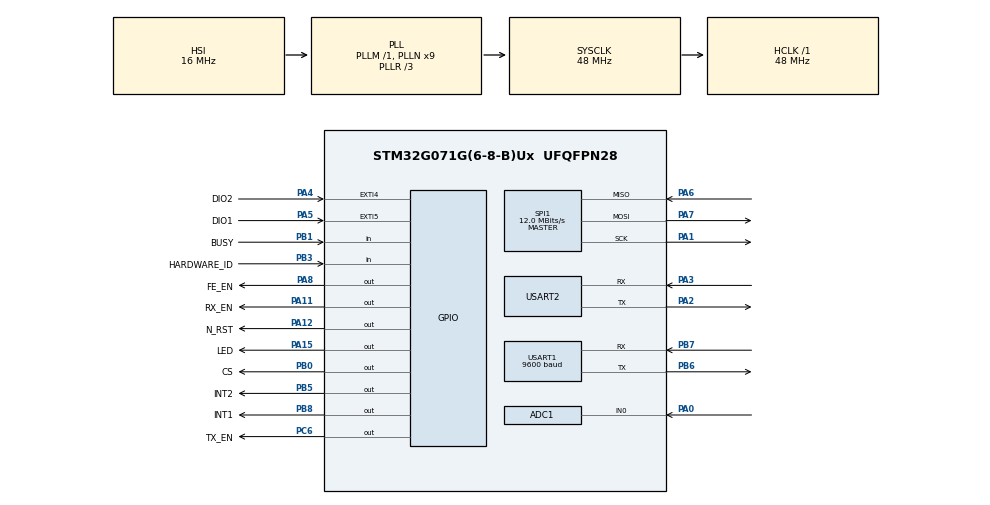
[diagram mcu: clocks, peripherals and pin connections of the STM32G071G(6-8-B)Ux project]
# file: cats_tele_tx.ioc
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ADC1.Channel-0\#ChannelRegularConversion=ADC_CHANNEL_0
ADC1.ContinuousConvMode=ENABLE
ADC1.DMAContinuousRequests=DISABLE
ADC1.NbrOfConversion=1
ADC1.NbrOfConversionFlag=1
ADC1.OversamplingMode=ENABLE
ADC1.Rank-0\#ChannelRegularConversion=1
ADC1.Ratio=ADC_OVERSAMPLING_RATIO_256
ADC1.RightBitShift=ADC_RIGHTBITSHIFT_4
ADC1.SamplingTime-0\#ChannelRegularConversion=ADC_SAMPLINGTIME_COMMON_1
ADC1.SamplingTimeCommon1=ADC_SAMPLETIME_160CYCLES_5
ADC1.SamplingTimeCommon2=ADC_SAMPLETIME_160CYCLES_5
ADC1.SelectedChannel=ADC_CHANNEL_0
ADC1.master=1
Dma.ADC1.2.Direction=DMA_PERIPH_TO_MEMORY
Dma.ADC1.2.EventEnable=DISABLE
Dma.ADC1.2.Instance=DMA1_Channel4
Dma.ADC1.2.MemDataAlignment=DMA_MDATAALIGN_HALFWORD
Dma.ADC1.2.MemInc=DMA_MINC_ENABLE
Dma.ADC1.2.Mode=DMA_CIRCULAR
Dma.ADC1.2.PeriphDataAlignment=DMA_PDATAALIGN_HALFWORD
Dma.ADC1.2.PeriphInc=DMA_PINC_DISABLE
Dma.ADC1.2.Polarity=HAL_DMAMUX_REQ_GEN_RISING
Dma.ADC1.2.Priority=DMA_PRIORITY_LOW
Dma.ADC1.2.RequestNumber=1
Dma.ADC1.2.SignalID=NONE
Dma.ADC1.2.SyncEnable=DISABLE
Dma.ADC1.2.SyncPolarity=HAL_DMAMUX_SYNC_NO_EVENT
Dma.ADC1.2.SyncRequestNumber=1
Dma.ADC1.2.SyncSignalID=NONE
Dma.Request0=USART1_RX
Dma.Request1=USART2_RX
Dma.Request2=ADC1
Dma.USART1_RX.0.Direction=DMA_PERIPH_TO_MEMORY
Dma.USART1_RX.0.EventEnable=DISABLE
Dma.USART1_RX.0.Instance=DMA1_Channel1
Dma.USART1_RX.0.MemDataAlignment=DMA_MDATAALIGN_BYTE
Dma.USART1_RX.0.MemInc=DMA_MINC_ENABLE
Dma.USART1_RX.0.Mode=DMA_CIRCULAR
Dma.USART1_RX.0.PeriphDataAlignment=DMA_PDATAALIGN_BYTE
Dma.USART1_RX.0.PeriphInc=DMA_PINC_DISABLE
Dma.USART1_RX.0.Polarity=HAL_DMAMUX_REQ_GEN_RISING
Dma.USART1_RX.0.Priority=DMA_PRIORITY_LOW
Dma.USART1_RX.0.RequestNumber=1
Dma.USART1_RX.0.SignalID=NONE
Dma.USART1_RX.0.SyncEnable=DISABLE
Dma.USART1_RX.0.SyncPolarity=HAL_DMAMUX_SYNC_NO_EVENT
Dma.USART1_RX.0.SyncRequestNumber=1
Dma.USART1_RX.0.SyncSignalID=NONE
Dma.USART2_RX.1.Direction=DMA_PERIPH_TO_MEMORY
Dma.USART2_RX.1.EventEnable=DISABLE
Dma.USART2_RX.1.Instance=DMA1_Channel2
Dma.USART2_RX.1.MemDataAlignment=DMA_MDATAALIGN_BYTE
Dma.USART2_RX.1.MemInc=DMA_MINC_ENABLE
Dma.USART2_RX.1.Mode=DMA_CIRCULAR
Dma.USART2_RX.1.PeriphDataAlignment=DMA_PDATAALIGN_BYTE
Dma.USART2_RX.1.PeriphInc=DMA_PINC_DISABLE
Dma.USART2_RX.1.Polarity=HAL_DMAMUX_REQ_GEN_RISING
Dma.USART2_RX.1.Priority=DMA_PRIORITY_LOW
Dma.USART2_RX.1.RequestNumber=1
Dma.USART2_RX.1.SignalID=NONE
Dma.USART2_RX.1.SyncEnable=DISABLE
Dma.USART2_RX.1.SyncPolarity=HAL_DMAMUX_SYNC_NO_EVENT
Dma.USART2_RX.1.SyncRequestNumber=1
Dma.USART2_RX.1.SyncSignalID=NONE
Mcu.Family=STM32G0
Mcu.Name=STM32G071G(6-8-B)Ux
Mcu.Package=UFQFPN28
NVIC.DMA1_Ch4_7_DMAMUX1_OVR_IRQn=true\:3\:0\:true\:false\:true\:false\:true\:true
NVIC.DMA1_Channel1_IRQn=true\:3\:0\:true\:false\:true\:false\:true\:true
NVIC.DMA1_Channel2_3_IRQn=true\:3\:0\:true\:false\:true\:false\:true\:true
NVIC.EXTI4_15_IRQn=true\:0\:0\:false\:false\:true\:true\:true\:true
NVIC.SPI1_IRQn=true\:0\:0\:false\:false\:true\:true\:true\:true
NVIC.TIM2_IRQn=true\:1\:0\:true\:false\:true\:true\:true\:true
PA0.Mode=IN0
PA0.Signal=ADC1_IN0
PA1.Mode=Full_Duplex_Master
PA1.Signal=SPI1_SCK
PA11\ [PA9].GPIO_Label=RX_EN
PA11\ [PA9].Signal=GPIO_Output
PA12\ [PA10].GPIO_Label=N_RST
PA12\ [PA10].Signal=GPIO_Output
PA13.Mode=Serial_Wire
PA13.Signal=SYS_SWDIO
PA14-BOOT0.Mode=Serial_Wire
PA14-BOOT0.Signal=SYS_SWCLK
PA15.GPIO_Label=LED
PA15.Signal=GPIO_Output
PA2.Mode=Asynchronous
PA2.Signal=USART2_TX
PA3.Mode=Asynchronous
PA3.Signal=USART2_RX
PA4.GPIO_Label=DIO2
PA4.Signal=GPXTI4
PA5.GPIO_Label=DIO1
PA5.Signal=GPXTI5
PA6.Mode=Full_Duplex_Master
PA6.Signal=SPI1_MISO
PA7.Mode=Full_Duplex_Master
PA7.Signal=SPI1_MOSI
PA8.GPIO_Label=FE_EN
PA8.Signal=GPIO_Output
PB0.GPIO_Label=CS
PB0.Signal=GPIO_Output
PB1.GPIO_Label=BUSY
PB1.GPIO_PuPd=GPIO_PULLUP
PB1.Signal=GPIO_Input
PB3.GPIO_Label=HARDWARE_ID
PB3.GPIO_PuPd=GPIO_PULLUP
PB3.Signal=GPIO_Input
PB5.GPIO_Label=INT2
PB5.Signal=GPIO_Output
PB6.Mode=Asynchronous
PB6.Signal=USART1_TX
PB7.Mode=Asynchronous
PB7.Signal=USART1_RX
PB8.GPIO_Label=INT1
PB8.Signal=GPIO_Output
PC6.GPIO_Label=TX_EN
PC6.Signal=GPIO_Output
ProjectManager.HeapSize=0x200
ProjectManager.StackSize=0x400
ProjectManager.TargetToolchain=STM32CubeIDE
RCC.ADCFreq_Value=48000000
RCC.AHBFreq_Value=48000000
RCC.CortexFreq_Value=48000000
RCC.EXTERNAL_CLOCK_VALUE=48000
RCC.HCLKFreq_Value=48000000
RCC.HSE_VALUE=8000000
RCC.HSI_VALUE=16000000
RCC.LSE_VALUE=32768
RCC.PLLN=9
RCC.PLLR=RCC_PLLR_DIV3
RCC.SYSCLKFreq_VALUE=48000000
RCC.SYSCLKSource=RCC_SYSCLKSOURCE_PLLCLK
RCC.VCOOutputFreq_Value=144000000
SPI1.BaudRatePrescaler=SPI_BAUDRATEPRESCALER_4
SPI1.CalculateBaudRate=12.0 MBits/s
SPI1.DataSize=SPI_DATASIZE_8BIT
SPI1.Direction=SPI_DIRECTION_2LINES
SPI1.Mode=SPI_MODE_MASTER
SPI1.NSSPMode=SPI_NSS_PULSE_DISABLE
SPI1.VirtualType=VM_MASTER
TIM2.AutoReloadPreload=TIM_AUTORELOAD_PRELOAD_ENABLE
TIM2.Period=1000
TIM2.Prescaler=4800
TIM2.TIM_MasterOutputTrigger=TIM_TRGO_UPDATE
USART1.BaudRate=9600
USART1.VirtualMode-Asynchronous=VM_ASYNC
USART2.VirtualMode-Asynchronous=VM_ASYNC
VP_SYS_VS_DBSignals.Mode=DisableDeadBatterySignals
VP_TIM2_VS_ClockSourceINT.Mode=Internal
board=custom

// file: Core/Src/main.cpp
/* USER CODE BEGIN Header */
/**
 ******************************************************************************
 * @file           : main.c
 * @brief          : Main program body
 ******************************************************************************
 * @attention
 *
 * Copyright (c) 2022 STMicroelectronics.
 * All rights reserved.
 *
 * This software is licensed under terms that can be found in the LICENSE file
 * in the root directory of this software component.
 * If no LICENSE file comes with this software, it is provided AS-IS.
 *
 ******************************************************************************
 */
/* USER CODE END Header */
#include "main.h"

/* USER CODE BEGIN Includes */
#include "FHSS/crc.h"
#include "SX1280Driver/SX1280Driver.h"
#include "SerialComm/Parser.h"
#include "SerialComm/Serial.h"
#include "Transmission/Transmission.h"
#include "common.h"
#include "gps.h"
#include "util/thermistor.h"
#include <cstring>
/* USER CODE END Includes */

ADC_HandleTypeDef hadc1;
DMA_HandleTypeDef hdma_adc1;

SPI_HandleTypeDef hspi1;

TIM_HandleTypeDef htim2;

UART_HandleTypeDef huart1;
UART_HandleTypeDef huart2;
DMA_HandleTypeDef hdma_usart1_rx;
DMA_HandleTypeDef hdma_usart2_rx;

void SystemClock_Config(void);
static void MX_GPIO_Init(void);
static void MX_ADC1_Init(void);
static void MX_SPI1_Init(void);
static void MX_USART1_UART_Init(void);
static void MX_USART2_UART_Init(void);
static void MX_DMA_Init(void);
static void MX_TIM2_Init(void);
/* USER CODE BEGIN PFP */
extern TinyGPSPlus gps;
Parser p;

/* USER CODE END PFP */

int main(void) {

  /* MCU Configuration--------------------------------------------------------*/

  /* Reset of all peripherals, Initializes the Flash interface and the Systick.
   */
  HAL_Init();

  /* Configure the system clock */
  SystemClock_Config();

  /* Initialize all configured peripherals */
  MX_GPIO_Init();
  MX_DMA_Init();
  MX_ADC1_Init();
  MX_SPI1_Init();
  MX_USART1_UART_Init();
  MX_USART2_UART_Init();
  MX_TIM2_Init();
  /* USER CODE BEGIN 2 */

  /* Set code version */
  const char *telemetry_code_version = "1.1.0";
  uint8_t code_version_size = strlen(telemetry_code_version);
  const uint8_t *code_version =
      reinterpret_cast<const uint8_t *>(telemetry_code_version);

  /* Wait for the GNSS module to initialize*/
  HAL_Delay(4000);
  /* Set the GNSS module to 115200 baud and put in airbourne mode*/
  gpsSetup();

  /* Initalize the communication to Host */
  Serial<64> serial2(&huart2);
  /* Initalize the communication to GNSS Module */
  Serial<256> serial1(&huart1);
  /* Initalize Thermistor */
  Thermistor<3434> thermistor(&hadc1);

  /* Initalize the radio module */
  while (Link.begin(&htim2) == false) {
    HAL_Delay(10);
  }

  uint8_t oldGpsValue = 20;
  uint8_t oldSecond = 0;
  uint32_t lastTemperatureUpdate = HAL_GetTick();

  /* USER CODE END 2 */

  /* Infinite loop */
  while (1) {

    /* USER CODE BEGIN 3 */
    uint8_t uartOutBuffer[20];

    /* Check if we received data from the GNSS module */
    if (serial1.available()) {
      gps.encode(serial1.read());
    }

    /* Check if we received data from the host */
    if (serial2.available()) {
      p.process(serial2.read());
    }

    /* Transmit Link Information*/
    if (Link.infoAvailable()) {
      linkInfo_t info;
      Link.readInfo(&info);
      uartOutBuffer[0] = CMD_INFO;
      uartOutBuffer[1] = 3;
      uartOutBuffer[2] = info.lq;
      uartOutBuffer[3] = info.rssi;
      uartOutBuffer[4] = info.snr;

      uint8_t crc = crc8(uartOutBuffer, 5);
      uartOutBuffer[5] = crc;

      HAL_UART_Transmit(&huart2, uartOutBuffer, 6, 2);
    }

    /* Transmit RX data */
    if (Link.available()) {
      uint8_t rx_data[16];
      Link.readBytes(rx_data, 16);

      uartOutBuffer[0] = CMD_RX;
      uartOutBuffer[1] = 16;
      memcpy(&uartOutBuffer[2], rx_data, 16);
      uint8_t crc = crc8(uartOutBuffer, 18);
      uartOutBuffer[18] = crc;

      HAL_UART_Transmit(&huart2, uartOutBuffer, 19, 2);
    }

    /* Transmit GPS Location */
    if (gps.location.isValid() && gps.location.isUpdated()) {
      float lat = gps.location.lat();
      float lng = gps.location.lng();
      int32_t altitude = gps.altitude.meters();

      if (lat != 0) {
        uartOutBuffer[0] = CMD_GNSS_LOC;
        uartOutBuffer[1] = 12;
        memcpy(&uartOutBuffer[2], &lat, 4);
        memcpy(&uartOutBuffer[2 + 4], &lng, 4);
        memcpy(&uartOutBuffer[2 + 4 + 4], &altitude, 4);
        uint8_t crc = crc8(uartOutBuffer, 14);
        uartOutBuffer[14] = crc;

        HAL_UART_Transmit(&huart2, uartOutBuffer, 15, 2);
      }
    }

    /* Transmit GPS Satellite Information */
    if (gps.satellites.isValid() && gps.satellites.isUpdated()) {

      if (oldGpsValue != gps.satellites.value()) {
        oldGpsValue = gps.satellites.value();
        uartOutBuffer[0] = CMD_GNSS_INFO;
        uartOutBuffer[1] = 1;
        uartOutBuffer[2] = gps.satellites.value();
        uint8_t crc = crc8(uartOutBuffer, 3);
        uartOutBuffer[3] = crc;

        HAL_UART_Transmit(&huart2, uartOutBuffer, 4, 2);
      }
    }

    /* Transmit GPS Time */
    if (gps.time.isUpdated() && gps.time.isValid()) {
      if (gps.time.second() != oldSecond) {
        oldSecond = gps.time.second();
        uartOutBuffer[0] = CMD_GNSS_TIME;
        uartOutBuffer[1] = 3;
        uartOutBuffer[2] = gps.time.second();
        uartOutBuffer[3] = gps.time.minute();
        uartOutBuffer[4] = gps.time.hour();
        uint8_t crc = crc8(uartOutBuffer, 5);
        uartOutBuffer[5] = crc;
        HAL_UART_Transmit(&huart2, uartOutBuffer, 6, 2);
      }
    }

    /* Transmit Thermistor temperature two seconds */
    if ((HAL_GetTick() - lastTemperatureUpdate) >= 2000) {
      lastTemperatureUpdate = HAL_GetTick();

      float temperature = thermistor.getTemperature();
      uartOutBuffer[0] = CMD_TEMP_INFO;
      uartOutBuffer[1] = 4;
      memcpy(&uartOutBuffer[2], &temperature, 4);
      uint8_t crc = crc8(uartOutBuffer, 6);
      uartOutBuffer[6] = crc;
      HAL_UART_Transmit(&huart2, uartOutBuffer, 7, 2);
    }

    if (send_version_num) {
      /* Send Version number to Host */
      uartOutBuffer[0] = CMD_VERSION_INFO;
      uartOutBuffer[1] = code_version_size;
      memcpy(&uartOutBuffer[2], code_version, code_version_size);
      uint8_t crc = crc8(uartOutBuffer, code_version_size + 2);
      uartOutBuffer[code_version_size + 2] = crc;

      HAL_UART_Transmit(&huart2, uartOutBuffer, code_version_size + 3, 2);
      send_version_num = false;
    }
  }
}

void SystemClock_Config(void) {
  RCC_OscInitTypeDef RCC_OscInitStruct = {0};
  RCC_ClkInitTypeDef RCC_ClkInitStruct = {0};

  /** Configure the main internal regulator output voltage
   */
  HAL_PWREx_ControlVoltageScaling(PWR_REGULATOR_VOLTAGE_SCALE1);
  /** Initializes the RCC Oscillators according to the specified parameters
   * in the RCC_OscInitTypeDef structure.
   */
  RCC_OscInitStruct.OscillatorType = RCC_OSCILLATORTYPE_HSI;
  RCC_OscInitStruct.HSIState = RCC_HSI_ON;
  RCC_OscInitStruct.HSIDiv = RCC_HSI_DIV1;
  RCC_OscInitStruct.HSICalibrationValue = RCC_HSICALIBRATION_DEFAULT;
  RCC_OscInitStruct.PLL.PLLState = RCC_PLL_ON;
  RCC_OscInitStruct.PLL.PLLSource = RCC_PLLSOURCE_HSI;
  RCC_OscInitStruct.PLL.PLLM = RCC_PLLM_DIV1;
  RCC_OscInitStruct.PLL.PLLN = 9;
  RCC_OscInitStruct.PLL.PLLP = RCC_PLLP_DIV2;
  RCC_OscInitStruct.PLL.PLLQ = RCC_PLLQ_DIV2;
  RCC_OscInitStruct.PLL.PLLR = RCC_PLLR_DIV3;
  if (HAL_RCC_OscConfig(&RCC_OscInitStruct) != HAL_OK) {
    Error_Handler();
  }
  /** Initializes the CPU, AHB and APB buses clocks
   */
  RCC_ClkInitStruct.ClockType =
      RCC_CLOCKTYPE_HCLK | RCC_CLOCKTYPE_SYSCLK | RCC_CLOCKTYPE_PCLK1;
  RCC_ClkInitStruct.SYSCLKSource = RCC_SYSCLKSOURCE_PLLCLK;
  RCC_ClkInitStruct.AHBCLKDivider = RCC_SYSCLK_DIV1;
  RCC_ClkInitStruct.APB1CLKDivider = RCC_HCLK_DIV1;

  if (HAL_RCC_ClockConfig(&RCC_ClkInitStruct, FLASH_LATENCY_1) != HAL_OK) {
    Error_Handler();
  }
}

static void MX_ADC1_Init(void) {

  ADC_ChannelConfTypeDef sConfig = {0};

  /** Configure the global features of the ADC (Clock, Resolution, Data
   * Alignment and number of conversion)
   */
  hadc1.Instance = ADC1;
  hadc1.Init.ClockPrescaler = ADC_CLOCK_SYNC_PCLK_DIV2;
  hadc1.Init.Resolution = ADC_RESOLUTION_12B;
  hadc1.Init.DataAlign = ADC_DATAALIGN_RIGHT;
  hadc1.Init.ScanConvMode = ADC_SCAN_DISABLE;
  hadc1.Init.EOCSelection = ADC_EOC_SINGLE_CONV;
  hadc1.Init.LowPowerAutoWait = DISABLE;
  hadc1.Init.LowPowerAutoPowerOff = DISABLE;
  hadc1.Init.ContinuousConvMode = ENABLE;
  hadc1.Init.NbrOfConversion = 1;
  hadc1.Init.DiscontinuousConvMode = DISABLE;
  hadc1.Init.ExternalTrigConv = ADC_SOFTWARE_START;
  hadc1.Init.ExternalTrigConvEdge = ADC_EXTERNALTRIGCONVEDGE_NONE;
  hadc1.Init.DMAContinuousRequests = ENABLE;
  hadc1.Init.Overrun = ADC_OVR_DATA_PRESERVED;
  hadc1.Init.SamplingTimeCommon1 = ADC_SAMPLETIME_160CYCLES_5;
  hadc1.Init.SamplingTimeCommon2 = ADC_SAMPLETIME_160CYCLES_5;
  hadc1.Init.OversamplingMode = ENABLE;
  hadc1.Init.Oversampling.Ratio = ADC_OVERSAMPLING_RATIO_256;
  hadc1.Init.Oversampling.RightBitShift = ADC_RIGHTBITSHIFT_4;
  hadc1.Init.Oversampling.TriggeredMode = ADC_TRIGGEREDMODE_SINGLE_TRIGGER;
  hadc1.Init.TriggerFrequencyMode = ADC_TRIGGER_FREQ_HIGH;
  if (HAL_ADC_Init(&hadc1) != HAL_OK) {
    Error_Handler();
  }
  /** Configure Regular Channel
   */
  sConfig.Channel = ADC_CHANNEL_0;
  sConfig.Rank = ADC_REGULAR_RANK_1;
  sConfig.SamplingTime = ADC_SAMPLINGTIME_COMMON_1;
  if (HAL_ADC_ConfigChannel(&hadc1, &sConfig) != HAL_OK) {
    Error_Handler();
  }
}

static void MX_SPI1_Init(void) {

  /* SPI1 parameter configuration*/
  hspi1.Instance = SPI1;
  hspi1.Init.Mode = SPI_MODE_MASTER;
  hspi1.Init.Direction = SPI_DIRECTION_2LINES;
  hspi1.Init.DataSize = SPI_DATASIZE_8BIT;
  hspi1.Init.CLKPolarity = SPI_POLARITY_LOW;
  hspi1.Init.CLKPhase = SPI_PHASE_1EDGE;
  hspi1.Init.NSS = SPI_NSS_SOFT;
  hspi1.Init.BaudRatePrescaler = SPI_BAUDRATEPRESCALER_4;
  hspi1.Init.FirstBit = SPI_FIRSTBIT_MSB;
  hspi1.Init.TIMode = SPI_TIMODE_DISABLE;
  hspi1.Init.CRCCalculation = SPI_CRCCALCULATION_DISABLE;
  hspi1.Init.CRCPolynomial = 7;
  hspi1.Init.CRCLength = SPI_CRC_LENGTH_DATASIZE;
  hspi1.Init.NSSPMode = SPI_NSS_PULSE_DISABLE;
  if (HAL_SPI_Init(&hspi1) != HAL_OK) {
    Error_Handler();
  }
}

static void MX_TIM2_Init(void) {

  TIM_ClockConfigTypeDef sClockSourceConfig = {0};
  TIM_MasterConfigTypeDef sMasterConfig = {0};

  htim2.Instance = TIM2;
  htim2.Init.Prescaler = 4800;
  htim2.Init.CounterMode = TIM_COUNTERMODE_UP;
  htim2.Init.Period = 1000;
  htim2.Init.ClockDivision = TIM_CLOCKDIVISION_DIV1;
  htim2.Init.AutoReloadPreload = TIM_AUTORELOAD_PRELOAD_ENABLE;
  if (HAL_TIM_Base_Init(&htim2) != HAL_OK) {
    Error_Handler();
  }
  sClockSourceConfig.ClockSource = TIM_CLOCKSOURCE_INTERNAL;
  if (HAL_TIM_ConfigClockSource(&htim2, &sClockSourceConfig) != HAL_OK) {
    Error_Handler();
  }
  sMasterConfig.MasterOutputTrigger = TIM_TRGO_UPDATE;
  sMasterConfig.MasterSlaveMode = TIM_MASTERSLAVEMODE_DISABLE;
  if (HAL_TIMEx_MasterConfigSynchronization(&htim2, &sMasterConfig) != HAL_OK) {
    Error_Handler();
  }
}

static void MX_USART1_UART_Init(void) {

  huart1.Instance = USART1;
  huart1.Init.BaudRate = 9600;
  huart1.Init.WordLength = UART_WORDLENGTH_8B;
  huart1.Init.StopBits = UART_STOPBITS_1;
  huart1.Init.Parity = UART_PARITY_NONE;
  huart1.Init.Mode = UART_MODE_TX_RX;
  huart1.Init.HwFlowCtl = UART_HWCONTROL_NONE;
  huart1.Init.OverSampling = UART_OVERSAMPLING_16;
  huart1.Init.OneBitSampling = UART_ONE_BIT_SAMPLE_DISABLE;
  huart1.Init.ClockPrescaler = UART_PRESCALER_DIV1;
  huart1.AdvancedInit.AdvFeatureInit = UART_ADVFEATURE_NO_INIT;
  if (HAL_UART_Init(&huart1) != HAL_OK) {
    Error_Handler();
  }
  if (HAL_UARTEx_SetTxFifoThreshold(&huart1, UART_TXFIFO_THRESHOLD_1_8) !=
      HAL_OK) {
    Error_Handler();
  }
  if (HAL_UARTEx_SetRxFifoThreshold(&huart1, UART_RXFIFO_THRESHOLD_1_8) !=
      HAL_OK) {
    Error_Handler();
  }
  if (HAL_UARTEx_DisableFifoMode(&huart1) != HAL_OK) {
    Error_Handler();
  }
}

static void MX_USART2_UART_Init(void) {

  huart2.Instance = USART2;
  huart2.Init.BaudRate = 115200;
  huart2.Init.WordLength = UART_WORDLENGTH_8B;
  huart2.Init.StopBits = UART_STOPBITS_1;
  huart2.Init.Parity = UART_PARITY_NONE;
  huart2.Init.Mode = UART_MODE_TX_RX;
  huart2.Init.HwFlowCtl = UART_HWCONTROL_NONE;
  huart2.Init.OverSampling = UART_OVERSAMPLING_16;
  huart2.Init.OneBitSampling = UART_ONE_BIT_SAMPLE_DISABLE;
  huart2.Init.ClockPrescaler = UART_PRESCALER_DIV1;
  huart2.AdvancedInit.AdvFeatureInit = UART_ADVFEATURE_NO_INIT;
  if (HAL_UART_Init(&huart2) != HAL_OK) {
    Error_Handler();
  }
  if (HAL_UARTEx_SetTxFifoThreshold(&huart2, UART_TXFIFO_THRESHOLD_1_8) !=
      HAL_OK) {
    Error_Handler();
  }
  if (HAL_UARTEx_SetRxFifoThreshold(&huart2, UART_RXFIFO_THRESHOLD_1_8) !=
      HAL_OK) {
    Error_Handler();
  }
  if (HAL_UARTEx_DisableFifoMode(&huart2) != HAL_OK) {
    Error_Handler();
  }
}

static void MX_DMA_Init(void) {

  /* DMA controller clock enable */
  __HAL_RCC_DMA1_CLK_ENABLE();

  /* DMA interrupt init */
  /* DMA1_Channel1_IRQn interrupt configuration */
  HAL_NVIC_SetPriority(DMA1_Channel1_IRQn, 2, 0);
  HAL_NVIC_EnableIRQ(DMA1_Channel1_IRQn);
  /* DMA1_Channel2_3_IRQn interrupt configuration */
  HAL_NVIC_SetPriority(DMA1_Channel2_3_IRQn, 3, 0);
  HAL_NVIC_EnableIRQ(DMA1_Channel2_3_IRQn);
  /* DMA1_Ch4_7_DMAMUX1_OVR_IRQn interrupt configuration */
  HAL_NVIC_SetPriority(DMA1_Ch4_7_DMAMUX1_OVR_IRQn, 0, 0);
  HAL_NVIC_EnableIRQ(DMA1_Ch4_7_DMAMUX1_OVR_IRQn);
}

static void MX_GPIO_Init(void) {
  GPIO_InitTypeDef GPIO_InitStruct = {0};

  /* GPIO Ports Clock Enable */
  __HAL_RCC_GPIOA_CLK_ENABLE();
  __HAL_RCC_GPIOB_CLK_ENABLE();
  __HAL_RCC_GPIOC_CLK_ENABLE();

  /*Configure GPIO pin Output Level */
  HAL_GPIO_WritePin(GPIOB, CS_Pin | INT2_Pin | INT1_Pin, GPIO_PIN_RESET);

  /*Configure GPIO pin Output Level */
  HAL_GPIO_WritePin(GPIOA, FE_EN_Pin | RX_EN_Pin | N_RST_Pin | LED_Pin,
                    GPIO_PIN_RESET);

  /*Configure GPIO pin Output Level */
  HAL_GPIO_WritePin(TX_EN_GPIO_Port, TX_EN_Pin, GPIO_PIN_RESET);

  /*Configure GPIO pins : DIO2_Pin DIO1_Pin */
  GPIO_InitStruct.Pin = DIO2_Pin | DIO1_Pin;
  GPIO_InitStruct.Mode = GPIO_MODE_IT_RISING;
  GPIO_InitStruct.Pull = GPIO_NOPULL;
  HAL_GPIO_Init(GPIOA, &GPIO_InitStruct);

  /*Configure GPIO pins : CS_Pin INT2_Pin INT1_Pin */
  GPIO_InitStruct.Pin = CS_Pin | INT2_Pin | INT1_Pin;
  GPIO_InitStruct.Mode = GPIO_MODE_OUTPUT_PP;
  GPIO_InitStruct.Pull = GPIO_NOPULL;
  GPIO_InitStruct.Speed = GPIO_SPEED_FREQ_LOW;
  HAL_GPIO_Init(GPIOB, &GPIO_InitStruct);

  /*Configure GPIO pins : BUSY_Pin HARDWARE_ID_Pin */
  GPIO_InitStruct.Pin = BUSY_Pin | HARDWARE_ID_Pin;
  GPIO_InitStruct.Mode = GPIO_MODE_INPUT;
  GPIO_InitStruct.Pull = GPIO_PULLUP;
  HAL_GPIO_Init(GPIOB, &GPIO_InitStruct);

  /*Configure GPIO pins : FE_EN_Pin RX_EN_Pin N_RST_Pin LED_Pin */
  GPIO_InitStruct.Pin = FE_EN_Pin | RX_EN_Pin | N_RST_Pin | LED_Pin;
  GPIO_InitStruct.Mode = GPIO_MODE_OUTPUT_PP;
  GPIO_InitStruct.Pull = GPIO_NOPULL;
  GPIO_InitStruct.Speed = GPIO_SPEED_FREQ_LOW;
  HAL_GPIO_Init(GPIOA, &GPIO_InitStruct);

  /*Configure GPIO pin : TX_EN_Pin */
  GPIO_InitStruct.Pin = TX_EN_Pin;
  GPIO_InitStruct.Mode = GPIO_MODE_OUTPUT_PP;
  GPIO_InitStruct.Pull = GPIO_NOPULL;
  GPIO_InitStruct.Speed = GPIO_SPEED_FREQ_LOW;
  HAL_GPIO_Init(TX_EN_GPIO_Port, &GPIO_InitStruct);

  /* EXTI interrupt init*/
  HAL_NVIC_SetPriority(EXTI4_15_IRQn, 0, 0);
  HAL_NVIC_EnableIRQ(EXTI4_15_IRQn);
}

void Error_Handler(void) {
  __disable_irq();
  while (1) {
  }
}

#ifdef USE_FULL_ASSERT
/**
 * @brief  Reports the name of the source file and the source line number
 *         where the assert_param error has occurred.
 * @param  file: pointer to the source file name
 * @param  line: assert_param error line source number
 * @retval None
 */
void assert_failed(uint8_t *file, uint32_t line) {
  /* USER CODE BEGIN 6 */
  /* User can add his own implementation to report the file name and line
     number,
     ex: printf("Wrong parameters value: file %s on line %d\r\n", file, line) */
  /* USER CODE END 6 */
}
#endif /* USE_FULL_ASSERT */
